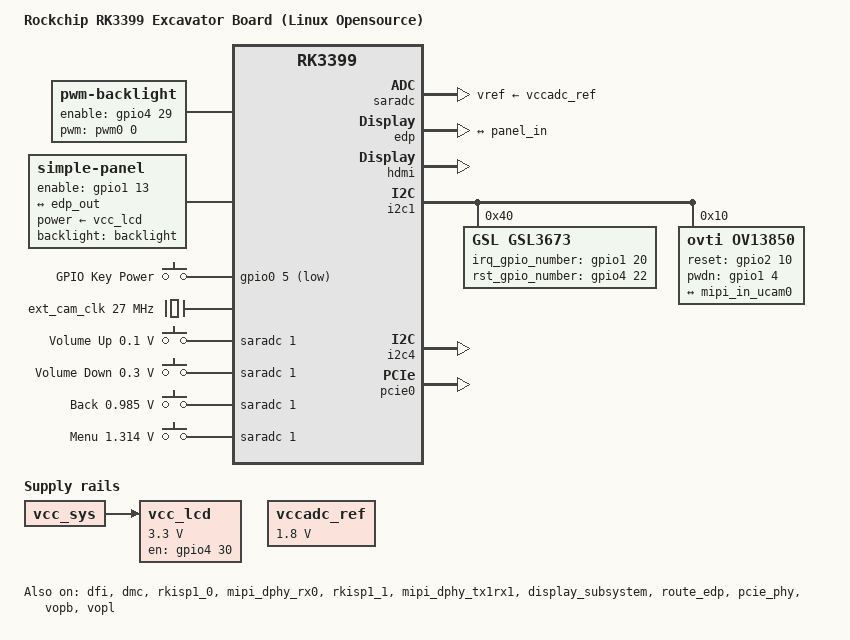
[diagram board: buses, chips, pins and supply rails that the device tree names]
// SPDX-License-Identifier: (GPL-2.0+ OR MIT)
// Copyright (c) 2020 Fuzhou Rockchip Electronics Co., Ltd.

/dts-v1/;

#include "rk3399-excavator-sapphire.dtsi"
#include "rk3399-linux.dtsi"
#include <dt-bindings/input/input.h>

/ {
	model = "Rockchip RK3399 Excavator Board (Linux Opensource)";
	compatible = "rockchip,rk3399-excavator-linux", "rockchip,rk3399";

	backlight: backlight {
		compatible = "pwm-backlight";
		brightness-levels = <
			  0   1   2   3   4   5   6   7
			  8   9  10  11  12  13  14  15
			 16  17  18  19  20  21  22  23
			 24  25  26  27  28  29  30  31
			 32  33  34  35  36  37  38  39
			 40  41  42  43  44  45  46  47
			 48  49  50  51  52  53  54  55
			 56  57  58  59  60  61  62  63
			 64  65  66  67  68  69  70  71
			 72  73  74  75  76  77  78  79
			 80  81  82  83  84  85  86  87
			 88  89  90  91  92  93  94  95
			 96  97  98  99 100 101 102 103
			104 105 106 107 108 109 110 111
			112 113 114 115 116 117 118 119
			120 121 122 123 124 125 126 127
			128 129 130 131 132 133 134 135
			136 137 138 139 140 141 142 143
			144 145 146 147 148 149 150 151
			152 153 154 155 156 157 158 159
			160 161 162 163 164 165 166 167
			168 169 170 171 172 173 174 175
			176 177 178 179 180 181 182 183
			184 185 186 187 188 189 190 191
			192 193 194 195 196 197 198 199
			200 201 202 203 204 205 206 207
			208 209 210 211 212 213 214 215
			216 217 218 219 220 221 222 223
			224 225 226 227 228 229 230 231
			232 233 234 235 236 237 238 239
			240 241 242 243 244 245 246 247
			248 249 250 251 252 253 254 255>;
		default-brightness-level = <200>;
		pwms = <&pwm0 0 25000 0>;
		enable-gpios = <&gpio4 29 GPIO_ACTIVE_HIGH>;
	};

	vcc_lcd: vcc-lcd {
		compatible = "regulator-fixed";
		regulator-name = "vcc_lcd";
		gpio = <&gpio4 30 GPIO_ACTIVE_HIGH>;
		startup-delay-us = <20000>;
		enable-active-high;
		regulator-min-microvolt = <3300000>;
		regulator-max-microvolt = <3300000>;
		regulator-boot-on;
		vin-supply = <&vcc_sys>;
	};

	panel: panel {
		compatible = "simple-panel";
		backlight = <&backlight>;
		power-supply = <&vcc_lcd>;
		enable-gpios = <&gpio1 13 GPIO_ACTIVE_HIGH>;
		prepare-delay-ms = <20>;
		enable-delay-ms = <20>;

		display-timings {
			native-mode = <&timing0>;

			timing0: timing0 {
				clock-frequency = <200000000>;
				hactive = <1536>;
				vactive = <2048>;
				hfront-porch = <12>;
				hsync-len = <16>;
				hback-porch = <48>;
				vfront-porch = <8>;
				vsync-len = <4>;
				vback-porch = <8>;
				hsync-active = <0>;
				vsync-active = <0>;
				de-active = <0>;
				pixelclk-active = <0>;
			};
		};

		ports {
			panel_in: endpoint {
				remote-endpoint = <&edp_out>;
			};
		};
	};

	hdmi_sound: hdmi-sound {
		status = "okay";
	};

	gpio-keys {
		compatible = "gpio-keys";
		#address-cells = <1>;
		#size-cells = <0>;
		autorepeat;

		pinctrl-names = "default";
		pinctrl-0 = <&pwrbtn>;

		button@0 {
			gpios = <&gpio0 5 GPIO_ACTIVE_LOW>;
			linux,code = <KEY_POWER>;
			label = "GPIO Key Power";
			linux,input-type = <1>;
			gpio-key,wakeup = <1>;
			debounce-interval = <100>;
		};
	};

	vccadc_ref: vccadc-ref {
		compatible = "regulator-fixed";
		regulator-name = "vcc1v8_sys";
		regulator-always-on;
		regulator-boot-on;
		regulator-min-microvolt = <1800000>;
		regulator-max-microvolt = <1800000>;
	};

	ext_cam_clk: external-camera-clock {
		compatible = "fixed-clock";
		clock-frequency = <27000000>;
		clock-output-names = "CLK_CAMERA_27MHZ";
		#clock-cells = <0>;
	};

	adc-keys {
		compatible = "adc-keys";
		io-channels = <&saradc 1>;
		io-channel-names = "buttons";
		poll-interval = <100>;
		keyup-threshold-microvolt = <1800000>;

		button-up {
			label = "Volume Up";
			linux,code = <KEY_VOLUMEUP>;
			press-threshold-microvolt = <100000>;
		};

		button-down {
			label = "Volume Down";
			linux,code = <KEY_VOLUMEDOWN>;
			press-threshold-microvolt = <300000>;
		};

		back {
			label = "Back";
			linux,code = <KEY_BACK>;
			press-threshold-microvolt = <985000>;
		};

		menu {
			label = "Menu";
			linux,code = <KEY_MENU>;
			press-threshold-microvolt = <1314000>;
		};
	};
};

&dfi {
	status = "okay";
};

&dmc {
	status = "okay";
	center-supply = <&vdd_center>;
	upthreshold = <40>;
	downdifferential = <20>;
	system-status-freq = <
		/*system status         freq(KHz)*/
		SYS_STATUS_NORMAL       856000
		SYS_STATUS_REBOOT       856000
		SYS_STATUS_SUSPEND      328000
		SYS_STATUS_VIDEO_1080P  666000
		SYS_STATUS_VIDEO_4K     856000
		SYS_STATUS_VIDEO_4K_10B 856000
		SYS_STATUS_PERFORMANCE  856000
		SYS_STATUS_BOOST        856000
		SYS_STATUS_DUALVIEW     856000
		SYS_STATUS_ISP          856000
	>;
	vop-bw-dmc-freq = <
	/* min_bw(MB/s) max_bw(MB/s) freq(KHz) */
		0       762      416000
		763     3012     666000
		3013    99999    856000
	>;

	vop-pn-msch-readlatency = <
		0	0x20
		4	0x20
	>;

	auto-min-freq = <328000>;
	auto-freq-en = <0>;
};

&dmc_opp_table {
		compatible = "operating-points-v2";

		opp-200000000 {
			opp-hz = /bits/ 64 <200000000>;
			opp-microvolt = <900000>;
			status = "disabled";
		};
		opp-300000000 {
			opp-hz = /bits/ 64 <300000000>;
			opp-microvolt = <900000>;
			status = "disabled";
		};
		opp-328000000 {
			opp-hz = /bits/ 64 <328000000>;
			opp-microvolt = <900000>;
		};
		opp-400000000 {
			opp-hz = /bits/ 64 <400000000>;
			opp-microvolt = <900000>;
			status = "disabled";
		};
		opp-416000000 {
			opp-hz = /bits/ 64 <416000000>;
			opp-microvolt = <900000>;
		};
		opp-528000000 {
			opp-hz = /bits/ 64 <528000000>;
			opp-microvolt = <900000>;
			status = "disabled";
		};
		opp-600000000 {
			opp-hz = /bits/ 64 <600000000>;
			opp-microvolt = <900000>;
			status = "disabled";
		};
		opp-666000000 {
			opp-hz = /bits/ 64 <666000000>;
			opp-microvolt = <900000>;
		};
		opp-800000000 {
			opp-hz = /bits/ 64 <800000000>;
			opp-microvolt = <900000>;
			status = "disabled";
		};
		opp-856000000 {
			opp-hz = /bits/ 64 <856000000>;
			opp-microvolt = <900000>;
		};
		opp-928000000 {
			opp-hz = /bits/ 64 <928000000>;
			opp-microvolt = <900000>;
			status = "disabled";
		};
};

&rkisp1_0 {
	status = "okay";

	port {
		#address-cells = <1>;
		#size-cells = <0>;

		isp0_mipi_in: endpoint@0 {
			reg = <0>;
			remote-endpoint = <&dphy_rx0_out>;
		};
	};
};

&mipi_dphy_rx0 {
	status = "okay";

	ports {
		#address-cells = <1>;
		#size-cells = <0>;

		port@0 {
			reg = <0>;
			#address-cells = <1>;
			#size-cells = <0>;

			mipi_in_ucam0: endpoint@1 {
				reg = <1>;
				remote-endpoint = <&ucam_out0>;
				data-lanes = <1 2>;
			};
		};

		port@1 {
			reg = <1>;
			#address-cells = <1>;
			#size-cells = <0>;

			dphy_rx0_out: endpoint@0 {
				reg = <0>;
				remote-endpoint = <&isp0_mipi_in>;
			};
		};
	};
};

&isp0_mmu {
	status = "okay";
};

&rkisp1_1 {
	status = "okay";

	port {
		#address-cells = <1>;
		#size-cells = <0>;

		isp1_mipi_in: endpoint@0 {
			reg = <0>;
			remote-endpoint = <&dphy_tx1rx1_out>;
		};
	};
};

&mipi_dphy_tx1rx1 {
	status = "okay";

	ports {
		#address-cells = <1>;
		#size-cells = <0>;

		port@0 {
			reg = <0>;
			#address-cells = <1>;
			#size-cells = <0>;

			mipi_in_ucam1: endpoint@1 {
				reg = <1>;
				/* Unlinked camera */
				//remote-endpoint = <&ucam_out1>;
				data-lanes = <1 2>;
			};
		};

		port@1 {
			reg = <1>;
			#address-cells = <1>;
			#size-cells = <0>;

			dphy_tx1rx1_out: endpoint@0 {
				reg = <0>;
				remote-endpoint = <&isp1_mipi_in>;
			};
		};
	};
};

&isp1_mmu {
	status = "okay";
};

&saradc {
	vref-supply = <&vccadc_ref>;
};

&display_subsystem {
	status = "okay";
};

&route_edp {
	status = "okay";
};

&edp {
	status = "okay";
	force-hpd;

	ports {
		port@1 {
			reg = <1>;

			edp_out: endpoint {
				remote-endpoint = <&panel_in>;
			};
		};
	};
};

&edp_in_vopb {
	status = "disabled";
};

&hdmi {
	pinctrl-names = "default";
	pinctrl-0 = <&hdmi_i2c_xfer>, <&hdmi_cec>;
	#address-cells = <1>;
	#size-cells = <0>;
	#sound-dai-cells = <0>;
	status = "okay";
};

&hdmi_in_vopl {
	status = "disabled";
};

&i2c1 {
	status = "okay";

	gsl3673: gsl3673@40 {
		compatible = "GSL,GSL3673";
		reg = <0x40>;
		screen_max_x = <1536>;
		screen_max_y = <2048>;
		irq_gpio_number = <&gpio1 20 IRQ_TYPE_LEVEL_LOW>;
		rst_gpio_number = <&gpio4 22 GPIO_ACTIVE_HIGH>;
	};

	tc358749x: tc358749x@f {
		compatible = "toshiba,tc358749";
		reg = <0xf>;
		clocks = <&ext_cam_clk>;
		clock-names = "refclk";
		reset-gpios = <&gpio2 7 GPIO_ACTIVE_LOW>;
		interrupt-parent = <&gpio2>;
		interrupts = <12 IRQ_TYPE_LEVEL_LOW>;
		pinctrl-names = "default";
		pinctrl-0 = <&hdmiin_gpios>;
		status = "disabled";
		port {
			hdmiin_out0: endpoint {
				/* Unlinked mipi dphy rx0 */
				//remote-endpoint = <&mipi_in_ucam0>;
				data-lanes = <1 2 3 4>;
				clock-noncontinuous;
				link-frequencies =
					/bits/ 64 <297000000>;
			};
		};
	};

	ov13850: ov13850@10 {
		compatible = "ovti,ov13850";
		status = "okay";
		reg = <0x10>;
		clocks = <&cru SCLK_CIF_OUT>;
		clock-names = "xvclk";

		/* conflict with csi-ctl-gpios */
		reset-gpios = <&gpio2 10 GPIO_ACTIVE_HIGH>;
		pwdn-gpios = <&gpio1 4 GPIO_ACTIVE_HIGH>;
		pinctrl-names = "rockchip,camera_default";
		pinctrl-0 = <&cif_clkout>;

		port {
			ucam_out0: endpoint {
				remote-endpoint = <&mipi_in_ucam0>;
				data-lanes = <1 2>;
			};
		};
	};
};

&i2c4 {
	status = "okay";
};

&pcie_phy {
	status = "okay";
};

&pcie0 {
	status = "okay";
};

&vopb {
	status = "okay";
	assigned-clocks = <&cru DCLK_VOP0_DIV>;
	assigned-clock-parents = <&cru PLL_CPLL>;
};

&vopb_mmu {
	status = "okay";
};

&vopl {
	status = "okay";
	assigned-clocks = <&cru DCLK_VOP1_DIV>;
	assigned-clock-parents = <&cru PLL_VPLL>;
};

&vopl_mmu {
	status = "okay";
};

&pinctrl {
	buttons {
		pwrbtn: pwrbtn {
			rockchip,pins = <0 RK_PA5 RK_FUNC_GPIO &pcfg_pull_up>;
		};
	};

	lcd-panel {
		lcd_panel_reset: lcd-panel-reset {
			rockchip,pins = <4 RK_PD6 RK_FUNC_GPIO &pcfg_pull_up>;
		};
	};

	hdmiin {
		hdmiin_gpios: hdmiin-gpios {
			rockchip,pins =
				<2 RK_PA5 RK_FUNC_GPIO &pcfg_output_high>,
				<2 RK_PA6 RK_FUNC_GPIO &pcfg_output_high>,
				<2 RK_PA7 RK_FUNC_GPIO &pcfg_pull_none>,
				<2 RK_PB0 RK_FUNC_GPIO &pcfg_output_high>,
				<2 RK_PB1 RK_FUNC_GPIO &pcfg_output_high>,
				<2 RK_PB2 RK_FUNC_GPIO &pcfg_output_low>,
				<2 RK_PB4 RK_FUNC_GPIO &pcfg_pull_none>;
		};
	};
};
